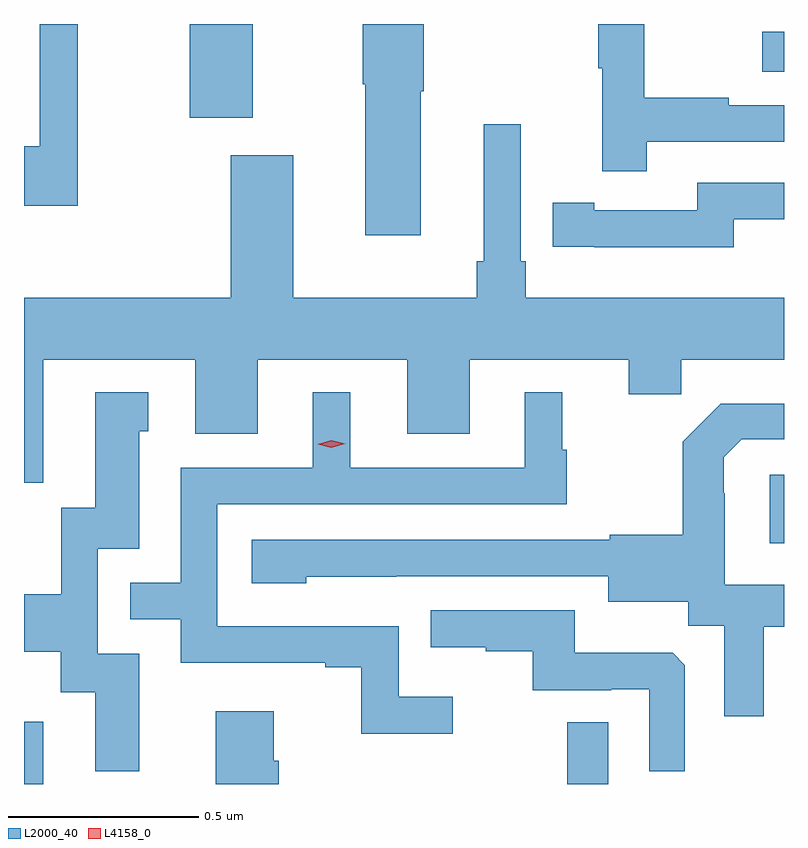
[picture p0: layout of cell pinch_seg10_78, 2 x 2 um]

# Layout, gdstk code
import gdstk
lib = gdstk.Library(unit=1e-6, precision=1e-09)
def R(c, l, rs):  # rectangles x0, y0, x1, y1
    for r in rs: c.add(gdstk.rectangle(r[:2], r[2:], *l))
def P(c, l, *ps):  # polygons
    for p in ps: c.add(gdstk.Polygon(p, *l))
L2000_40 = (2000, 40)
L4158_0 = (4158, 0)

pinch_seg10_78 = lib.new_cell('pinch_seg10_78')
R(pinch_seg10_78, L2000_40, [(811.816,1323.176,811.867,1323.34), (813.246,1323.176,813.354,1323.338), (813.779,1323.81,813.816,1323.99), (812.252,1324.929,812.418,1325.176), (813.759,1325.051,813.816,1325.155)])
P(pinch_seg10_78, L2000_40, [(812.86,1324.999),(812.868,1324.999),(812.868,1325.176),(812.707,1325.176),(812.707,1325.017),(812.714,1325.017),(812.714,1324.62),(812.86,1324.62)],
  [(813.455,1324.866),(813.816,1324.866),(813.816,1324.962),(813.671,1324.962),(813.671,1324.982),(813.448,1324.982),(813.448,1325.176),(813.327,1325.176),(813.327,1325.059),(813.338,1325.059),(813.338,1324.788),(813.455,1324.788)],
  [(811.958,1325.176),(811.857,1325.176),(811.857,1324.854),(811.817,1324.854),(811.817,1324.698),(811.958,1324.698)],
  [(811.867,1324.292),(812.267,1324.292),(812.267,1324.098),(812.431,1324.098),(812.431,1324.292),(812.825,1324.292),(812.825,1324.098),(812.989,1324.098),(812.989,1324.292),(813.407,1324.292),(813.407,1324.202),(813.545,1324.202),(813.545,1324.292),(813.816,1324.292),(813.816,1324.456),(813.137,1324.456),(813.137,1324.552),(813.123,1324.552),(813.123,1324.912),(813.026,1324.912),(813.026,1324.552),(813.007,1324.552),(813.007,1324.456),(812.524,1324.456),(812.524,1324.831),(812.36,1324.831),(812.36,1324.456),(811.816,1324.456),(811.816,1323.969),(811.867,1323.969)],
  [(813.684,1324.662),(813.816,1324.662),(813.816,1324.758),(813.588,1324.758),(813.588,1324.686),(813.316,1324.686),(813.316,1324.706),(813.208,1324.706),(813.208,1324.59),(813.316,1324.59),(813.316,1324.589),(813.684,1324.589)],
  [(812.119,1323.519),(812.01,1323.519),(812.01,1323.795),(812.119,1323.795),(812.119,1324.104),(812.143,1324.104),(812.143,1324.207),(812.003,1324.207),(812.003,1323.903),(811.914,1323.903),(811.914,1323.676),(811.816,1323.676),(811.816,1323.524),(811.913,1323.524),(811.913,1323.418),(812.003,1323.418),(812.003,1323.21),(812.119,1323.21)],
  [(812.944,1323.406),(812.802,1323.406),(812.802,1323.591),(812.325,1323.591),(812.325,1323.912),(813.244,1323.912),(813.244,1324.056),(813.232,1324.056),(813.232,1324.207),(813.134,1324.207),(813.134,1324.008),(812.674,1324.008),(812.674,1324.207),(812.576,1324.207),(812.576,1324.008),(812.229,1324.008),(812.229,1323.705),(812.095,1323.705),(812.095,1323.609),(812.229,1323.609),(812.229,1323.495),(812.609,1323.495),(812.609,1323.483),(812.704,1323.483),(812.704,1323.308),(812.944,1323.308)],
  [(813.763,1323.59),(813.816,1323.59),(813.816,1323.7),(813.66,1323.7),(813.66,1323.941),(813.658,1323.941),(813.658,1324.036),(813.705,1324.083),(813.816,1324.083),(813.816,1324.177),(813.649,1324.177),(813.549,1324.077),(813.549,1323.832),(813.357,1323.832),(813.357,1323.819),(812.415,1323.819),(812.415,1323.704),(812.559,1323.704),(812.559,1323.722),(812.795,1323.722),(812.795,1323.723),(813.353,1323.723),(813.353,1323.656),(813.564,1323.656),(813.564,1323.592),(813.659,1323.592),(813.659,1323.354),(813.763,1323.354)],
  [(813.555,1323.489),(813.523,1323.521),(813.265,1323.521),(813.265,1323.633),(812.887,1323.633),(812.887,1323.536),(813.031,1323.536),(813.031,1323.525),(813.155,1323.525),(813.155,1323.423),(813.362,1323.423),(813.362,1323.426),(813.462,1323.426),(813.462,1323.209),(813.555,1323.209)],
  [(812.486,1323.237),(812.473,1323.237),(812.473,1323.367),(812.321,1323.367),(812.321,1323.176),(812.486,1323.176)])
P(pinch_seg10_78, L4158_0, [(812.625,1324.061),(812.589,1324.07),(812.589,1324.07),(812.589,1324.07),(812.625,1324.081),(812.661,1324.071),(812.661,1324.071),(812.661,1324.071)])

lib.write_gds('pinch_seg10_78.gds')
